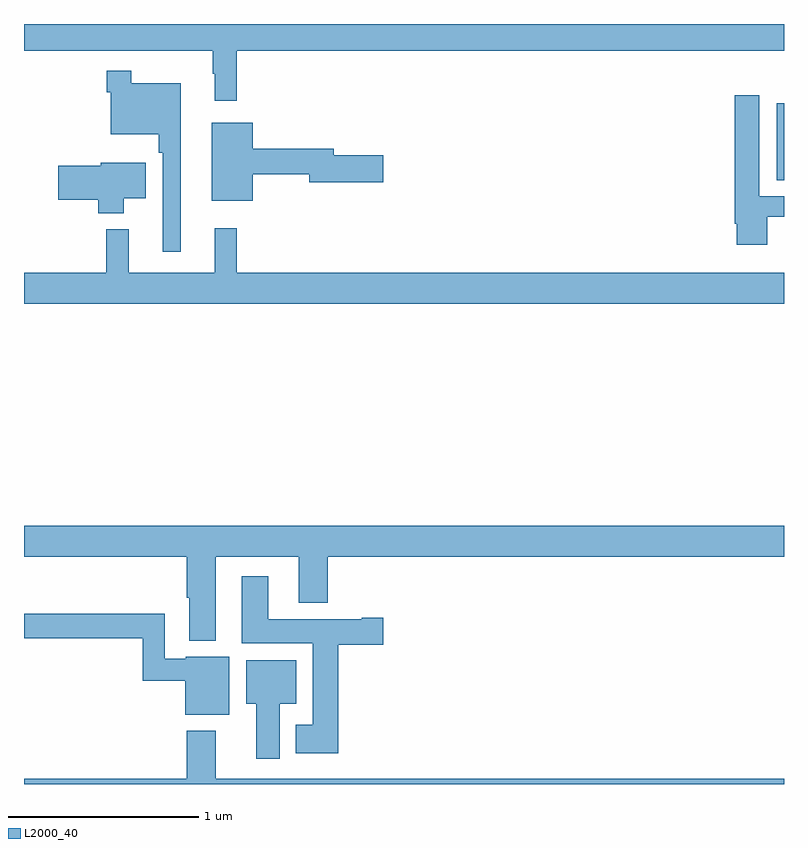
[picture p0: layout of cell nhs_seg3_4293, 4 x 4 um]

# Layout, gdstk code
import gdstk
lib = gdstk.Library(unit=1e-6, precision=1e-09)
def R(c, l, rs):  # rectangles x0, y0, x1, y1
    for r in rs: c.add(gdstk.rectangle(r[:2], r[2:], *l))
def P(c, l, *ps):  # polygons
    for p in ps: c.add(gdstk.Polygon(p, *l))
L2000_40 = (2000, 40)

nhs_seg3_4293 = lib.new_cell('nhs_seg3_4293')
R(nhs_seg3_4293, L2000_40, [(342.962,689.578,343,689.983)])
P(nhs_seg3_4293, L2000_40, [(340.121,690.26),(343,690.26),(343,690.4),(339,690.4),(339,690.26),(339.993,690.26),(339.993,690.137),(340.004,690.137),(340.004,689.997),(340.121,689.997)],
  [(339.826,690.088),(339.565,690.088),(339.565,690.154),(339.436,690.154),(339.436,690.041),(339.456,690.041),(339.456,689.819),(339.709,689.819),(339.709,689.723),(339.729,689.723),(339.729,689.202),(339.826,689.202)],
  [(342.913,689.385),(343,689.385),(343,689.493),(342.871,689.493),(342.871,690.025),(342.74,690.025),(342.74,689.35),(342.752,689.35),(342.752,689.238),(342.913,689.238)],
  [(340.204,689.608),(340.502,689.608),(340.502,689.566),(340.891,689.566),(340.891,689.708),(340.63,689.708),(340.63,689.744),(340.204,689.744),(340.204,689.881),(339.989,689.881),(339.989,689.471),(340.204,689.471)],
  [(339.526,689.483),(339.64,689.483),(339.64,689.671),(339.404,689.671),(339.404,689.654),(339.18,689.654),(339.18,689.476),(339.392,689.476),(339.392,689.405),(339.526,689.405)],
  [(343,689.092),(340.121,689.092),(340.121,689.326),(340.004,689.326),(340.004,689.092),(339.551,689.092),(339.551,689.32),(339.433,689.32),(339.433,689.092),(339,689.092),(339,688.928),(343,688.928)],
  [(340.009,687.596),(340.445,687.596),(340.445,687.353),(340.598,687.353),(340.598,687.596),(343,687.596),(343,687.76),(339,687.76),(339,687.596),(339.857,687.596),(339.857,687.379),(339.869,687.379),(339.869,687.155),(340.009,687.155)],
  [(340.655,687.134),(340.891,687.134),(340.891,687.276),(340.778,687.276),(340.778,687.268),(340.285,687.268),(340.285,687.493),(340.145,687.493),(340.145,687.14),(340.52,687.14),(340.52,686.713),(340.43,686.713),(340.43,686.561),(340.655,686.561)],
  [(340.081,687.07),(339.852,687.07),(339.852,687.06),(339.741,687.06),(339.741,687.295),(339,687.295),(339,687.166),(339.625,687.166),(339.625,686.944),(339.848,686.944),(339.848,686.765),(340.081,686.765)],
  [(340.345,686.822),(340.432,686.822),(340.432,687.052),(340.169,687.052),(340.169,686.822),(340.223,686.822),(340.223,686.532),(340.345,686.532)],
  [(343,686.428),(340.009,686.428),(340.009,686.68),(339.857,686.68),(339.857,686.428),(339,686.428),(339,686.4),(343,686.4)])

lib.write_gds('nhs_seg3_4293.gds')
